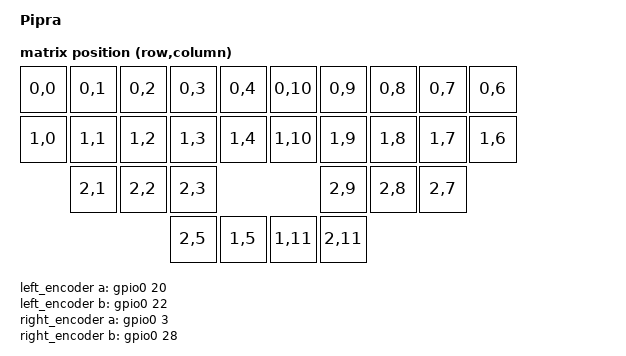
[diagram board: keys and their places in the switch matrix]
/*
 * Copyright (c) 2025 The ZMK Contributors
 *
 * SPDX-License-Identifier: MIT
 */

/dts-v1/;

#include <nordic/nrf52840_qiaa.dtsi>

#include <zephyr/dt-bindings/dt-util.h>
#include <zephyr/dt-bindings/adc/adc.h>
#include <zephyr/dt-bindings/gpio/nordic-nrf-gpio.h>

#include <dt-bindings/zmk/matrix_transform.h>
#include <physical_layouts.dtsi>

#include <freq.h>

/ {
    model = "Pipra";
    compatible = "ssbb,pipra";

    chosen {
        zephyr,code-partition = &code_partition;
        zephyr,sram = &sram0;
        zephyr,flash = &flash0;
        zephyr,console = &cdc_acm_uart;
        zephyr,shell-uart = &cdc_acm_uart;

        zmk,battery = &fuelgauge;
        zmk,physical-layout = &physical_layout0;
    };

    aliases {
        led-red = &led_red;
        led-blue = &led_yellow;
        led-green = &led_green;
    };

    default_transform: keymap_transform_0 {
        compatible = "zmk,matrix-transform";
        columns = <12>;
        rows = <4>;
        map = <
            RC(0,0) RC(0,1) RC(0,2) RC(0,3) RC(0,4) RC(0,10) RC(0,9) RC(0,8) RC(0,7) RC(0,6)
            RC(1,0) RC(1,1) RC(1,2) RC(1,3) RC(1,4) RC(1,10) RC(1,9) RC(1,8) RC(1,7) RC(1,6)
                    RC(2,1) RC(2,2) RC(2,3)                 RC(2,9) RC(2,8) RC(2,7)
                                    RC(2,5) RC(1,5) RC(1,11) RC(2,11)
        >;
    };

    kscan0: kscan_0 {
        compatible = "zmk,kscan-ec-matrix";
        matrix-relax-us = <3>;
        matrix-warm-up-us = <500>;
        adc-read-settle-us = <1>;
        sleep-after-secs = <10>;
        active-polling-interval-ms = <2>;
        idle-polling-interval-ms = <3>;
        sleep-polling-interval-ms = <4>;
        dynamic-polling-interval;
    };

    physical_layout0: physical_layout0 {
        compatible = "zmk,physical-layout";
        display-name = "Default Layout";
        kscan = <&kscan0>;
        transform = <&default_transform>;
    };

    amux: amux {
        compatible = "zmk,gpio-mux";
        gpio-controller;
        #gpio-cells = <2>;
    };

    left_encoder: encoder_left {
        compatible = "alps,ec11";
        a-gpios = <&gpio0 20 (GPIO_ACTIVE_HIGH | GPIO_PULL_UP)>;
        b-gpios = <&gpio0 22 (GPIO_ACTIVE_HIGH | GPIO_PULL_UP)>;
        steps = <48>;
        status = "disabled";
    };

    right_encoder: encoder_right {
        compatible = "alps,ec11";
        a-gpios = <&gpio0 3 (GPIO_ACTIVE_HIGH | GPIO_PULL_UP)>;
        b-gpios = <&gpio0 28 (GPIO_ACTIVE_HIGH | GPIO_PULL_UP)>;
        steps = <48>;
        status = "disabled";
    };

    sensors: sensors {
        compatible = "zmk,keymap-sensors";
        sensors = <&left_encoder &right_encoder>;
        triggers-per-rotation = <12>;
    };

    leds {
        compatible = "gpio-leds";
        status = "okay";

        led_red: led_red { };
        led_yellow: led_yellow { };
        led_green: led_green { };
    };
};

&adc {
    status = "okay";

    #address-cells = <1>;
    #size-cells = <0>;

    channel@1 {
        reg = <1>;
        zephyr,gain = "ADC_GAIN_1_4";
        zephyr,reference = "ADC_REF_INTERNAL";
        zephyr,acquisition-time = <ADC_ACQ_TIME(ADC_ACQ_TIME_MICROSECONDS, 3)>;
        zephyr,resolution = <12>;
    };
};

&gpiote {
	status = "okay";
};

&gpio0 {
	status = "okay";
};

&gpio1 {
	status = "okay";
};

zephyr_udc0: &usbd {
	status = "okay";
    cdc_acm_uart: cdc_acm_uart {
        compatible = "zephyr,cdc-acm-uart";
    };
};


&i2c0 {
    status = "okay";
    compatible = "nordic,nrf-twim";
	pinctrl-0 = <&i2c0_default>;
    pinctrl-1 = <&i2c0_sleep>;
    pinctrl-names = "default", "sleep";
	clock-frequency = <100000>;

	fuelgauge: max17048@36 {
		compatible = "zmk,maxim-max17048";
		reg = <0x36>;
	};
};

&flash0 {
    // For more information, see:
    // http://docs.zephyrproject.org/latest/devices/dts/flash_partitions.html
    partitions {
        compatible = "fixed-partitions";
        #address-cells = <1>;
        #size-cells = <1>;

        sd_partition: partition@0 {
            label = "softdevice";
            reg = <0x00000000 0x00026000>;
        };

        code_partition: partition@26000 {
            label = "code_partition";
            reg = <0x00026000 0x00046000>;
        };

        // The flash starting at 0x0006c000 and ending at
        // 0x00073fff is reserved for use by the application.

        // Storage partition will be used by FCB/LittleFS/NVS if enabled.
        storage_partition: partition@6c000 {
            label = "storage";
            reg = <0x0006c000 0x00008000>;
        };

        boot_partition: partition@74000 {
            label = "adafruit_boot";
            reg = <0x00074000 0x0000c000>;
        };
    };
};
